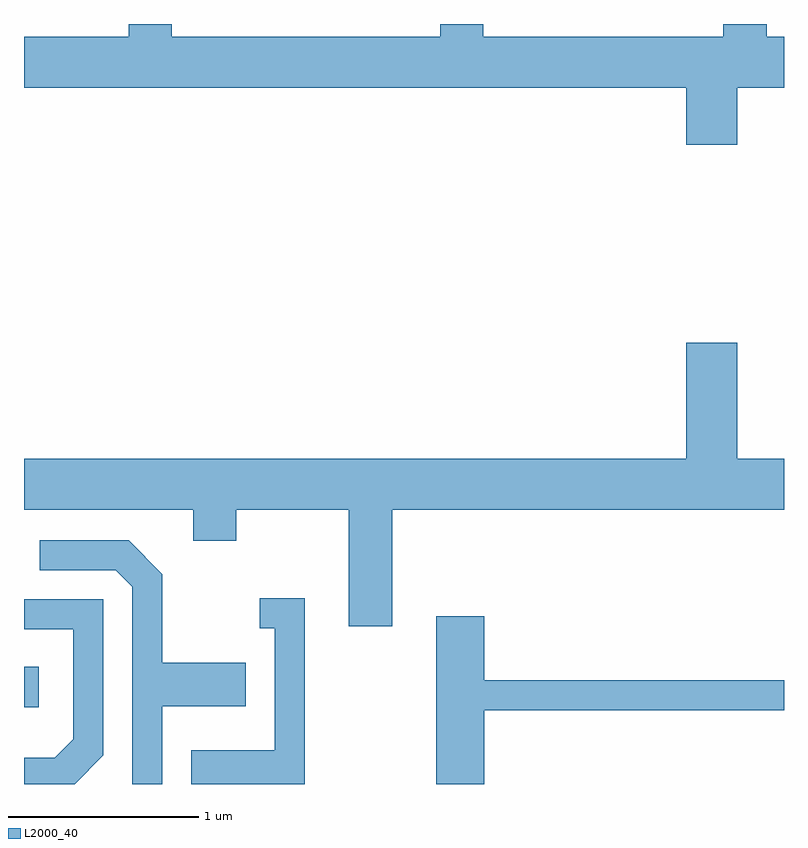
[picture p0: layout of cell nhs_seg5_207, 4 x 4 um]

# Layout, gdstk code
import gdstk
lib = gdstk.Library(unit=1e-6, precision=1e-09)
def R(c, l, rs):  # rectangles x0, y0, x1, y1
    for r in rs: c.add(gdstk.rectangle(r[:2], r[2:], *l))
def P(c, l, *ps):  # polygons
    for p in ps: c.add(gdstk.Polygon(p, *l))
L2000_40 = (2000, 40)

nhs_seg5_207 = lib.new_cell('nhs_seg5_207')
R(nhs_seg5_207, L2000_40, [(191.611,1402.476,191.689,1402.689)])
P(nhs_seg5_207, L2000_40, [(195.364,1405.736),(195.611,1405.736),(195.611,1406.004),(195.519,1406.004),(195.519,1406.072),(195.291,1406.072),(195.291,1406.004),(194.029,1406.004),(194.029,1406.072),(193.801,1406.072),(193.801,1406.004),(192.389,1406.004),(192.389,1406.072),(192.161,1406.072),(192.161,1406.004),(191.611,1406.004),(191.611,1405.736),(195.096,1405.736),(195.096,1405.436),(195.364,1405.436)],
  [(193.549,1403.516),(195.611,1403.516),(195.611,1403.784),(195.364,1403.784),(195.364,1404.394),(195.096,1404.394),(195.096,1403.784),(191.611,1403.784),(191.611,1403.516),(192.501,1403.516),(192.501,1403.351),(192.729,1403.351),(192.729,1403.516),(193.321,1403.516),(193.321,1402.901),(193.549,1402.901)],
  [(192.339,1402.481),(192.779,1402.481),(192.779,1402.709),(192.339,1402.709),(192.339,1403.177),(192.162,1403.354),(191.693,1403.354),(191.693,1403.196),(192.094,1403.196),(192.181,1403.109),(192.181,1402.072),(192.339,1402.072)],
  [(193.089,1403.049),(192.853,1403.049),(192.853,1402.891),(192.931,1402.891),(192.931,1402.249),(192.491,1402.249),(192.491,1402.072),(193.089,1402.072)],
  [(192.029,1402.224),(192.029,1403.044),(191.611,1403.044),(191.611,1402.886),(191.871,1402.886),(191.871,1402.307),(191.774,1402.209),(191.611,1402.209),(191.611,1402.072),(191.878,1402.072)],
  [(194.034,1402.461),(195.611,1402.461),(195.611,1402.619),(194.034,1402.619),(194.034,1402.954),(193.781,1402.954),(193.781,1402.072),(194.034,1402.072)])

lib.write_gds('nhs_seg5_207.gds')
